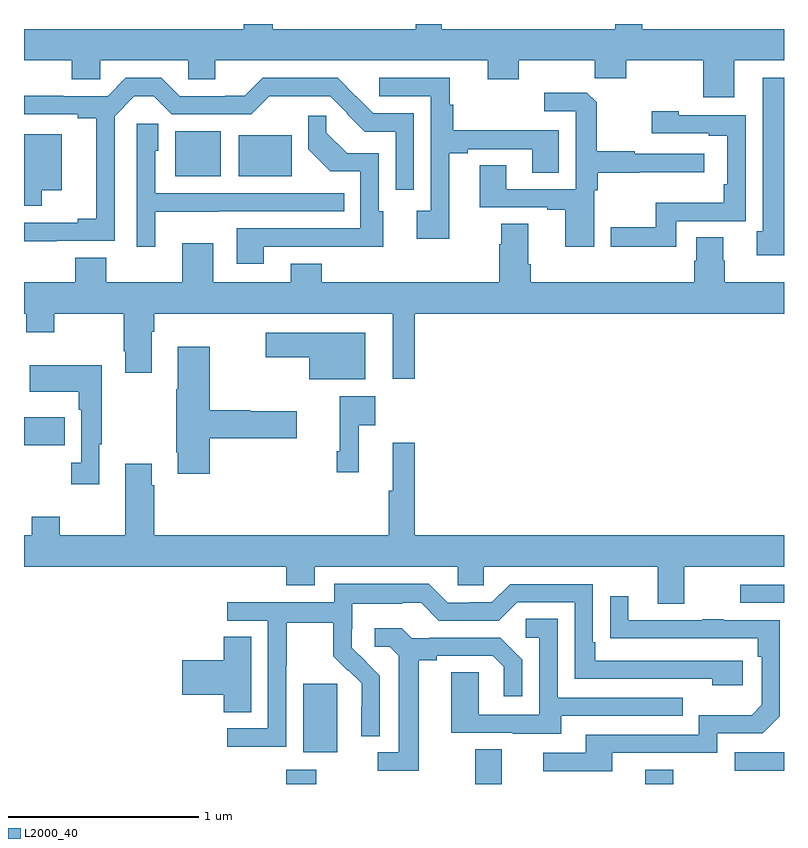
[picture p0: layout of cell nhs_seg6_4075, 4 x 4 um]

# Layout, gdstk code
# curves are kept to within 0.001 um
import gdstk
lib = gdstk.Library(unit=1e-6, precision=1e-09)
def R(c, l, rs):  # rectangles x0, y0, x1, y1
    for r in rs: c.add(gdstk.rectangle(r[:2], r[2:], *l))
def P(c, l, *ps):  # polygons
    for p in ps: c.add(gdstk.Polygon(p, *l))
L2000_40 = (2000, 40)

nhs_seg6_4075 = lib.new_cell('nhs_seg6_4075')
R(nhs_seg6_4075, L2000_40, [(352.379,971.5,352.539,971.575), (353.375,971.5,353.515,971.684), (354.269,971.5,354.417,971.575), (354.741,971.571,355,971.667), (352.469,971.666,352.648,972.027), (354.771,972.453,355,972.549), (351,973.282,351.215,973.429), (351.797,974.699,352.036,974.935), (352.13,974.699,352.408,974.914)])
P(nhs_seg6_4075, L2000_40, [(354.739,975.308),(355,975.308),(355,975.472),(354.253,975.472),(354.253,975.5),(354.113,975.5),(354.113,975.472),(353.199,975.472),(353.199,975.5),(353.061,975.5),(353.061,975.472),(352.309,975.472),(352.309,975.5),(352.157,975.5),(352.157,975.472),(351,975.472),(351,975.308),(351.251,975.308),(351.251,975.21),(351.402,975.21),(351.402,975.308),(351.864,975.308),(351.864,975.21),(352.006,975.21),(352.006,975.308),(353.441,975.308),(353.441,975.209),(353.605,975.209),(353.605,975.308),(354.005,975.308),(354.005,975.215),(354.169,975.215),(354.169,975.308),(354.575,975.308),(354.575,975.114),(354.739,975.114)],
  [(355,975.217),(354.887,975.217),(354.887,974.408),(354.857,974.408),(354.857,974.282),(355,974.282)],
  [(351.173,974.358),(351.477,974.358),(351.477,975.015),(351.581,975.119),(351.682,975.119),(351.777,975.024),(352.197,975.024),(352.292,975.119),(352.611,975.12),(352.701,975.03),(352.699,975.028),(352.793,974.934),(352.956,974.934),(352.956,974.628),(353.052,974.628),(353.052,975.03),(352.839,975.03),(352.651,975.216),(352.257,975.216),(352.163,975.122),(352.058,975.122),(352.058,975.12),(351.819,975.12),(351.723,975.216),(351.536,975.216),(351.44,975.12),(351.207,975.12),(351.207,975.122),(351,975.122),(351,975.024),(351.284,975.024),(351.284,975.004),(351.38,975.004),(351.38,974.474),(351.284,974.474),(351.284,974.454),(351,974.454),(351,974.357)],
  [(353.239,974.821),(353.335,974.821),(353.335,974.841),(353.675,974.841),(353.675,974.716),(353.815,974.716),(353.815,974.942),(353.258,974.942),(353.258,975.074),(353.24,975.074),(353.24,975.216),(352.869,975.216),(352.869,975.12),(353.142,975.12),(353.142,974.518),(353.067,974.518),(353.067,974.37),(353.239,974.37)],
  [(354,974.624),(354.02,974.624),(354.02,974.716),(354.239,974.716),(354.239,974.72),(354.58,974.72),(354.58,974.817),(354.215,974.817),(354.215,974.83),(354.015,974.83),(354.015,975.087),(353.963,975.139),(353.739,975.139),(353.739,975.042),(353.904,975.042),(353.904,974.631),(353.539,974.631),(353.539,974.756),(353.399,974.756),(353.399,974.535),(353.753,974.535),(353.753,974.523),(353.849,974.523),(353.849,974.328),(354,974.328)],
  [(354.432,974.463),(354.798,974.463),(354.798,975.021),(354.447,975.021),(354.447,975.04),(354.303,975.04),(354.303,974.925),(354.605,974.925),(354.605,974.913),(354.702,974.913),(354.702,974.656),(354.682,974.656),(354.682,974.56),(354.324,974.56),(354.324,974.429),(354.087,974.429),(354.087,974.327),(354.432,974.327)],
  [(352.261,974.328),(352.891,974.327),(352.891,974.514),(352.866,974.514),(352.866,974.82),(352.7,974.82),(352.592,974.928),(352.592,975.016),(352.497,975.016),(352.497,974.84),(352.613,974.724),(352.77,974.724),(352.77,974.424),(352.121,974.424),(352.121,974.238),(352.261,974.238)],
  [(351.691,974.513),(352.025,974.513),(352.025,974.514),(352.685,974.514),(352.685,974.61),(351.69,974.61),(351.69,974.832),(351.706,974.832),(351.706,974.975),(351.594,974.975),(351.594,974.328),(351.691,974.328)],
  [(351.094,974.624),(351.199,974.624),(351.199,974.92),(351,974.92),(351,974.544),(351.094,974.544)],
  [(353.057,973.976),(355,973.976),(355,974.14),(354.687,974.14),(354.687,974.253),(354.679,974.253),(354.679,974.378),(354.539,974.378),(354.539,974.253),(354.527,974.253),(354.527,974.14),(353.666,974.14),(353.666,974.236),(353.653,974.236),(353.653,974.45),(353.513,974.45),(353.513,974.342),(353.501,974.342),(353.501,974.14),(352.567,974.14),(352.567,974.239),(352.403,974.239),(352.403,974.14),(351.997,974.14),(351.997,974.347),(351.833,974.347),(351.833,974.14),(351.433,974.14),(351.433,974.269),(351.269,974.269),(351.269,974.14),(351,974.14),(351,973.976),(351.012,973.976),(351.012,973.877),(351.159,973.877),(351.159,973.976),(351.526,973.976),(351.526,973.777),(351.533,973.777),(351.533,973.665),(351.673,973.665),(351.673,973.88),(351.686,973.88),(351.686,973.976),(352.94,973.976),(352.94,973.632),(353.057,973.632)],
  [(352.795,973.876),(352.272,973.876),(352.272,973.747),(352.502,973.747),(352.502,973.631),(352.795,973.631)],
  [(351.977,973.319),(352.435,973.319),(352.435,973.461),(352.191,973.461),(352.191,973.466),(351.977,973.466),(351.977,973.801),(351.809,973.801),(351.809,973.577),(351.802,973.577),(351.802,973.246),(351.809,973.246),(351.809,973.134),(351.977,973.134)],
  [(351.397,973.289),(351.409,973.289),(351.409,973.705),(351.031,973.705),(351.031,973.565),(351.288,973.565),(351.288,973.469),(351.3,973.469),(351.3,973.19),(351.249,973.19),(351.249,973.077),(351.397,973.077)],
  [(352.763,973.388),(352.849,973.388),(352.849,973.54),(352.663,973.54),(352.663,973.252),(352.645,973.252),(352.645,973.14),(352.763,973.14)],
  [(354.475,972.644),(355,972.644),(355,972.808),(353.057,972.808),(353.057,973.297),(352.94,973.297),(352.94,973.044),(352.921,973.044),(352.921,972.808),(351.686,972.808),(351.686,973.073),(351.673,973.073),(351.673,973.186),(351.533,973.186),(351.533,972.808),(351.189,972.808),(351.189,972.907),(351.041,972.907),(351.041,972.808),(351,972.808),(351,972.644),(352.379,972.644),(352.379,972.545),(352.531,972.545),(352.531,972.644),(353.283,972.644),(353.283,972.546),(353.421,972.546),(353.421,972.644),(354.335,972.644),(354.335,972.45),(354.475,972.45)],
  [(352.38,972.124),(352.383,972.124),(352.383,972.348),(352.627,972.348),(352.627,972.173),(352.704,972.096),(352.707,972.099),(352.778,972.029),(352.778,971.906),(352.776,971.906),(352.776,971.752),(352.872,971.752),(352.872,972.07),(352.726,972.218),(352.726,972.315),(352.728,972.315),(352.728,972.449),(352.991,972.449),(352.991,972.453),(353.091,972.453),(353.184,972.36),(353.499,972.36),(353.595,972.456),(353.898,972.456),(353.898,972.054),(354.623,972.054),(354.623,972.02),(354.784,972.02),(354.784,972.15),(354.007,972.15),(354.007,972.247),(353.994,972.247),(353.994,972.552),(353.559,972.552),(353.463,972.456),(353.345,972.456),(353.345,972.453),(353.229,972.453),(353.129,972.553),(352.632,972.553),(352.632,972.456),(352.071,972.456),(352.071,972.36),(352.284,972.36),(352.284,971.793),(352.071,971.793),(352.071,971.695),(352.38,971.695)],
  [(354.097,971.664),(354.648,971.664),(354.648,971.766),(354.888,971.766),(354.978,971.856),(354.978,972.363),(354.683,972.363),(354.683,972.368),(354.571,972.368),(354.571,972.363),(354.181,972.363),(354.181,972.487),(354.085,972.487),(354.085,972.268),(354.862,972.267),(354.862,972.17),(354.882,972.17),(354.882,971.916),(354.829,971.863),(354.552,971.863),(354.552,971.76),(353.957,971.76),(353.957,971.664),(353.733,971.664),(353.733,971.568),(354.097,971.568)],
  [(353.827,971.859),(354.467,971.859),(354.467,971.955),(353.808,971.955),(353.808,972.371),(353.64,972.371),(353.64,972.27),(353.712,972.27),(353.712,971.865),(353.394,971.865),(353.394,972.089),(353.249,972.089),(353.249,971.769),(353.573,971.769),(353.573,971.765),(353.827,971.765)],
  [(353.077,972.152),(353.173,972.152),(353.173,972.174),(353.468,972.174),(353.525,972.117),(353.525,971.961),(353.622,971.961),(353.622,972.154),(353.506,972.27),(353.134,972.27),(353.134,972.267),(353.04,972.267),(352.988,972.319),(352.845,972.319),(352.845,972.222),(352.926,972.222),(352.973,972.175),(352.973,971.667),(352.863,971.667),(352.863,971.571),(353.077,971.571)],
  [(352.195,972.275),(352.052,972.275),(352.052,972.152),(351.834,972.152),(351.834,971.969),(352.052,971.969),(352.052,971.878),(352.195,971.878)])

lib.write_gds('nhs_seg6_4075.gds')
